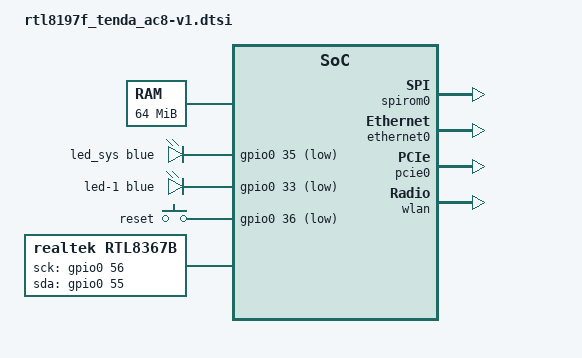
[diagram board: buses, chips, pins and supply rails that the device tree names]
// SPDX-License-Identifier: GPL-2.0-or-later OR MIT
/*
 * Tenda AC8 v1: RTL8197FH (MIPS 24Kc, 2.4 GHz radio) + RTL8812FR (PCIe,
 * 5 GHz) + RTL8367RB gigabit switch, SPI-NOR flash.
 *
 * Known facts (stock AC8 V2.0 eCos firmware V03.03.10.01, v1 is assumed to
 * use the same layout):
 *   - image header "cs6c", startAddr 0x80700000, burnAddr 0x00020000,
 *     so the boot loader occupies 0x000000..0x020000 and the firmware
 *     starts at 0x020000;
 *   - the firmware carries RTL8812F PHY tables and rtl8367b/rtl8367c
 *     switch helpers.
 *
 * Verified by a boot log from a real AC8 v1 with an 8 MiB chip:
 *   - the boot loader starts the cs6c image at 0x20000 (loader at
 *     0x80a00000, relocated to 0x81000000);
 *   - RTL8367RB-VB (id 0x6367, ver 0x0020) answers on SMI with
 *     MDC = GPIO H0 = 56, MDIO = GPIO G7 = 55, CPU port link comes up;
 *   - byte reads through the SPI auto-map window are NOT shifted (raw
 *     bytes at 0x60000/0x350000 match the flashed image), unlike RD05.
 *
 * NOT verified on hardware (taken from the Tenda AC23 profile of the
 * RTL8197F port, which uses the same RTL8197FH + RTL8367RB design, and
 * from the Xiaomi RD05 profile for the SoC side of the link):
 *   - Ethernet with rtknet + the swconfig rtl8367b driver and an 802.1Q
 *     trunk (rtknet + rtl8365mb DSA passed traffic both ways with a static
 *     address, but stopped after a cable replug; the rtl819x driver of the
 *     D-Link DIR-842 R1 port sent nothing to the switch);
 *   - switch port to front-panel jack mapping;
 *   - RAM size (64 MiB declared, the chip may have 128 MiB);
 *   - the SYS LED and the button (GPIOs from the code of the stock AC8 v1
 *     eCos firmware, see the leds node);
 *   - the location of the Tenda config block at the end of the flash.
 *
 * The stock 4 MiB profile exports the flash read-only.  The 8/16 MiB
 * profiles open the firmware partition for writes (sysupgrade, JFFS2
 * overlay in rootfs_data); the boot loader area stays read-only.
 */

#include <dt-bindings/gpio/gpio.h>
#include <dt-bindings/input/input.h>
#include <dt-bindings/leds/common.h>

#include "rtl8197f.dtsi"

/ {
	aliases {
		serial0 = &uart0;
		led-boot = &led_sys;
		led-failsafe = &led_sys;
		led-running = &led_sys;
		led-upgrade = &led_sys;
	};

	chosen {
		bootargs = "console=ttyS0,115200n8 lpj=5000000 rootfstype=squashfs clk_ignore_unused";
		stdout-path = "serial0:115200n8";
	};

	/* Conservative value, see the header comment. */
	memory@0 {
		device_type = "memory";
		reg = <0x00000000 0x04000000>;
	};

	/*
	 * GPIOs from the code of the stock eCos firmware of the AC8 v1 (Realtek
	 * numbering A0 = 0).  Its GPIO init sets up only E3 (output, high) and
	 * E4 (input).  E3 is the system LED: the "single_led" thread blinks it
	 * and wps_led_on/off drive it too, low = on.  E4 is the WPS/RST button:
	 * the "reset" (held) and "wps" (short press) entries of its button table
	 * both poll it, low = pressed.  The sys_led=gpio6/wps_led=gpio7/
	 * reset_gpio=20 defaults in its NVRAM are never used.  WLAN on E1 is
	 * verified on the AC8 (rightmost LED).  The port LEDs belong to the
	 * RTL8367RB (realtek,rtl8197f-ac8-oem-init).
	 */
	leds {
		compatible = "gpio-leds";
		pinctrl-names = "default";
		pinctrl-0 = <&led_pins>;

		led_sys: led-0 {
			function = LED_FUNCTION_STATUS;
			color = <LED_COLOR_ID_BLUE>;
			gpios = <&gpio0 35 GPIO_ACTIVE_LOW>;	/* E3 */
		};

		led-1 {
			function = LED_FUNCTION_WLAN;
			color = <LED_COLOR_ID_BLUE>;
			gpios = <&gpio0 33 GPIO_ACTIVE_LOW>;	/* E1 */
		};
	};

	/* Polled: the GPIO block is not an interrupt controller here. */
	keys {
		compatible = "gpio-keys-polled";
		poll-interval = <20>;
		pinctrl-names = "default";
		pinctrl-0 = <&button_pins>;

		reset {
			label = "reset";
			gpios = <&gpio0 36 GPIO_ACTIVE_LOW>;	/* E4, WPS/RST */
			linux,code = <KEY_RESTART>;
			debounce-interval = <60>;
		};
	};

	/*
	 * RTL8367RB-VB (chip id 0x6367, ver 0x0020), swconfig rtl8367b driver
	 * of OpenWrt 24.10 (as on the TP-Link Archer C2 v1), which resets the
	 * chip and runs the RTL8367C init like the stock rtk_switch_init().
	 * realtek,extif: CPU port 6 = EXT1, RGMII delays tx 0 / rx 5 (the
	 * values the stock switch init ends with), RGMII, forced 1000/full,
	 * pause off.
	 * realtek,rtl8197f-ac8-oem-init: the rest of the stock init (port LED
	 * pins and mode, thresholds, SSC).  Port 6 is a tagged member of
	 * VLAN 1 (WAN, port 4) and VLAN 2 (LAN, ports 0-3), see 02_network.
	 */
	rtl8367b {
		compatible = "realtek,rtl8367b";
		pinctrl-names = "default";
		pinctrl-0 = <&rtl8367_smi_h0_g7_pins>;
		realtek,extif = <6 0 5 1 1 0 0 1 1 2>;
		gpio-sck = <&gpio0 56 GPIO_ACTIVE_HIGH>;	/* H0, MDC */
		gpio-sda = <&gpio0 55 GPIO_ACTIVE_HIGH>;	/* G7, MDIO */
		realtek,rtl8197f-ac8-oem-init;
	};
};

&pinmux {
	rtl8367_smi_h0_g7_pins: rtl8367-smi-h0-g7-pins {
		pinctrl-single,bits = <0x34 0x03300000 0x0ff00000>;
	};

	/*
	 * GPIO function of the pins, the values of the pin mux helper of the
	 * stock firmware (the same as in the Realtek 8197F BSP, gpio.c).
	 */
	led_pins: led-pins {
		pinctrl-single,bits = <0x44 0x00100000 0x00f00000>,	/* E3 */
				      <0x44 0x10000000 0xf0000000>;	/* E1 */
	};

	button_pins: button-pins {
		pinctrl-single,bits = <0x44 0x00010000 0x000f0000>;	/* E4 */
	};
};

&gpio0 {
	/delete-property/ interrupt-controller;
	/delete-property/ #interrupt-cells;
	/delete-property/ interrupt-parent;
	/delete-property/ interrupts;
	status = "okay";
};

&uart0 {
	/* Polling mode, as on the other RTL8197F boards of the port. */
	/delete-property/ interrupt-parent;
	/delete-property/ interrupts;
};

&spi0 {
	status = "disabled";
};

&spirom0 {
	status = "okay";
	erase-size = <0x10000>;
	/*
	 * No read shift on the AC8: with the RD05 value of 1 every read was
	 * off by one byte, the rtl8197f-fw parser saw "\xffcs6" instead of
	 * the cs6c header and no rootfs partition was created.
	 */
	realtek,read-shift = <0>;

	/*
	 * The flash size, the partition table and the writable window
	 * (realtek,writable-offset/size) are set per flash chip.
	 */
};

&ethdiag0 {
	status = "disabled";
};

/*
 * rtknet, the CPU-port driver of this RTL8197F tree, which initialises the
 * CPU interface and the switch-core tables itself (the loader gates the
 * switch-core clock before it jumps to the kernel, so nothing of its setup
 * survives) and sends every frame straight to physical P0.  It passed
 * traffic both ways on the AC8 with the DSA builds.  The trunk to the
 * RTL8367 carries plain 802.1Q frames (VLAN 1 WAN, VLAN 2 LAN; swconfig,
 * as on the TP-Link Archer C2 v1): no CPU tag on either side.  RGMII: the
 * values of the stock init_8197f_p0 (CF_SEL_RGTXC 3, which rtknet always
 * sets, TX delay 0, RX delay 7) against the stock switch EXT1 side (tx 0,
 * rx 5).  Runtime parameters: /sys/module/rtl8197f_rtknet/parameters/
 * rd05_p0_{tx,rx}_delay, applied with "echo reseed > /proc/rd05-rtknet"
 * (ac8-trunk does both).
 */
&ethernet0 {
	realtek,tx-port-mask = <0x1>;
	realtek,tx-dp-ext = <0x0>;
	realtek,tx-extspa = <0x0>;
	realtek,rx-poll-fallback;
	realtek,rx-poll-ms = <50>;
	realtek,sdk-cpuicr1-init;
	realtek,sdk-swcore-init;
	realtek,sdk-trxrdy;
	/* SoC-side VID9/L2/netif host-link seed for P0. */
	realtek,legacy-rd05-sdk-pipeline;
	realtek,p0-cpu-tag-pass-through;
	/* Descriptor lengths include the FCS, as in the Realtek SDK. */
	realtek,sdk-crc-lengths;
	realtek,p0-rgmii-tx-delay = <0>;
	realtek,p0-rgmii-rx-delay = <7>;
	status = "okay";
};

&pcie0 {
	/*
	 * RTL8812F (10ec:f812), the 5 GHz radio.  Like the stock firmware,
	 * the driver takes the reference clock from the strap (CLK_DETECT
	 * bit 24) and does not apply the RTL8197F-VG PHY tuning.
	 */
	status = "okay";
};

/* The integrated 2.4 GHz radio of the RTL8197FH. */
&wlan {
	status = "okay";
};
